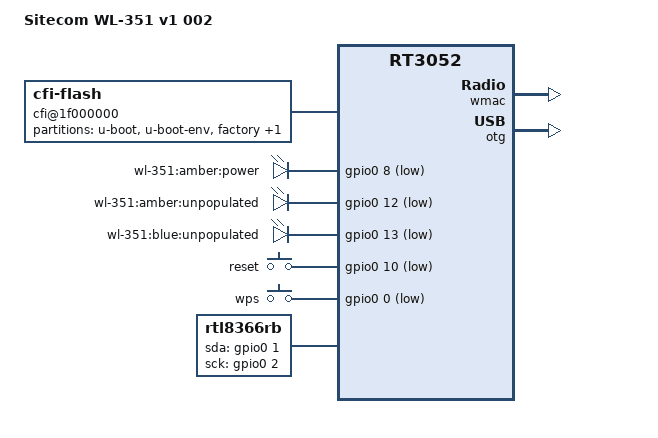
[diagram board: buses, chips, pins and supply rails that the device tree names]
/dts-v1/;

#include "rt3050.dtsi"

/ {
	compatible = "WL-351", "ralink,rt3052-soc";
	model = "Sitecom WL-351 v1 002";

	cfi@1f000000 {
		compatible = "cfi-flash";
		reg = <0x1f000000 0x800000>;
		bank-width = <2>;
		device-width = <2>;
		#address-cells = <1>;
		#size-cells = <1>;

		partition@0 {
			label = "u-boot";
			reg = <0x0 0x30000>;
			read-only;
		};

		partition@30000 {
			label = "u-boot-env";
			reg = <0x30000 0x10000>;
			read-only;
		};

		factory: partition@40000 {
			label = "factory";
			reg = <0x40000 0x10000>;
			read-only;
		};

		partition@50000 {
			label = "firmware";
			reg = <0x50000 0x3b0000>;
		};
	};

	gpio-leds {
		compatible = "gpio-leds";

		power {
			label = "wl-351:amber:power";
			gpios = <&gpio0 8 1>;
		};

		unpopulated {
			label = "wl-351:amber:unpopulated";
			gpios = <&gpio0 12 1>;
		};

		unpopulated2 {
			label = "wl-351:blue:unpopulated";
			gpios = <&gpio0 13 1>;
		};
	};

	gpio-keys-polled {
		compatible = "gpio-keys-polled";
		#address-cells = <1>;
		#size-cells = <0>;
		poll-interval = <20>;

		reset {
			label = "reset";
			gpios = <&gpio0 10 1>;
			linux,code = <0x198>;
		};

		wps {
			label = "wps";
			gpios = <&gpio0 0 1>;
			linux,code = <0x211>;
		};
	};

	rtl8366rb {
		compatible = "rtl8366rb";
		gpio-sda = <&gpio0 1 0>;
		gpio-sck = <&gpio0 2 0>;
	};
};

&pinctrl {
	state_default: pinctrl0 {
		gpio {
			ralink,group = "spi", "i2c", "jtag", "rgmii", "mdio", "uartf";
			ralink,function = "gpio";
		};
	};
};

&ethernet {
	mtd-mac-address = <&factory 0x4>;
};

&esw {
	mediatek,portmap = <0x3f>;
	ralink,fct2 = <0x0002500c>;
	/*
	 * ext phy base addr 31, rx/tx clock skew 0,
	 * turbo mii off, rgmi 3.3v off, port 5 polling off
	 * port5: enabled, gige, full-duplex, rx/tx-flow-control
	 * port6: enabled, gige, full-duplex, rx/tx-flow-control
	*/
	ralink,fpa2 = <0x1f003fff>;
};

&wmac {
	ralink,mtd-eeprom = <&factory 0>;
};

&otg {
	status = "okay";
};
